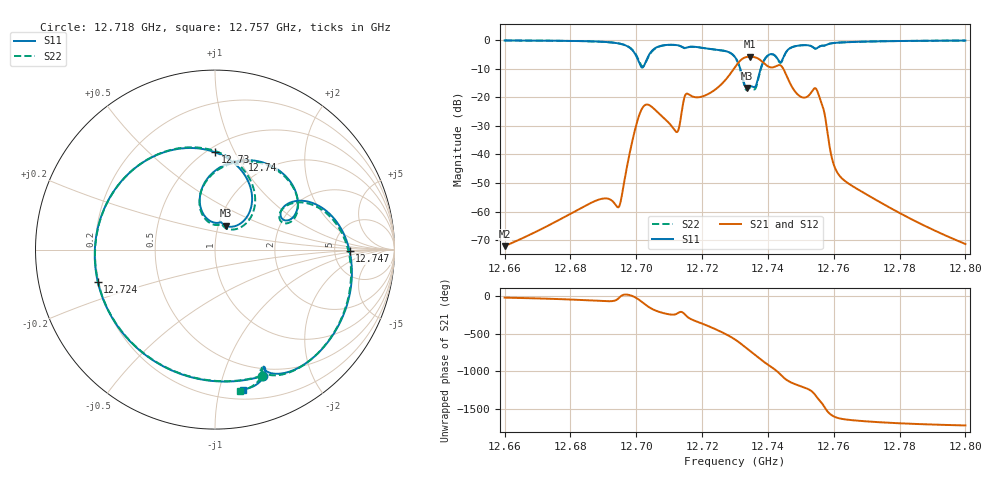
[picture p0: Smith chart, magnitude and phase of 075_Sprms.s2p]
! TOUCHSTONE file generated by CST MICROWAVE STUDIO
! Date and time: Wed Jul 31 14:29:50 2024
! Project name: WaveGuide_BPF-Ver4.1_U-shape_Ku_T3_C4_CWA_2.cst
! Parameters = {cavity_h=16; cavity_l0=10; cavity_l1=15.187; cavity_l2=16.8561; cavity_l3=17.138; cavity_l4=17.2451; cavity_l5=17.0907; cavity_l6=17.5982; cavity_r=2.5; cavity_screw_l=0.5; cavity_screw_r=1.5; cavity_w=8; iris_h00=0; iris_h01=8.8235; iris_h112=0; iris_h12=5.5917; iris_h211=3.6549; ir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
! Header version: 2018
! Port assignment regex: !\s*Touchstone port\s*([0-9]+)\s*=\s*(CST MWS port|CST DS port)\s*([0-9]+|Zmin|Zmax)\s*\(\"(.*)\"\)(\s*mode\s*([0-9]+))?.*
! Touchstone port assignment:
! Touchstone port 1 = CST MWS port 1 ("")
! Touchstone port 2 = CST MWS port 2 ("")
# GHz S RI R 50
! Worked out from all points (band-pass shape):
!   5001 points, 12.66 GHz to 12.8 GHz, reference 50 ohm
!   highest |S21| = -5.84 dB at 12.735 GHz (marker M1); lowest = -72.0 dB at 12.66 GHz (marker M2)
!   |S21| within 3 dB of the highest: 12.73041 GHz to 12.73955 GHz (9.141 MHz wide, 0.0718 % of centre); 12.743 GHz to 12.74378 GHz (781.8 kHz wide, 0.00613 % of centre)
!   lowest |S11| = -16.8 dB at 12.734 GHz (marker M3), VSWR 1.34, Z = 54.2 + j14.7 ohm
!   |S11| at or under -10 dB: 12.73159 GHz to 12.73781 GHz (6.218 MHz wide, 0.0488 % of centre)
!   |S22| runs from -17.5 to -0.2 dB; largest |S21 - S12| = 1e-09
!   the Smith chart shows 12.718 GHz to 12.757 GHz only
!   S11 on the Smith chart (normalised r, x): 12.718 GHz: 0.42, -1.37; 12.724 GHz: 0.20, -0.13; 12.73 GHz: 0.55, +0.84; 12.74 GHz: 0.76, +1.03; 12.747 GHz: 6.99, -0.30; 12.757 GHz: 0.28, -1.18
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12.66  0.2887 0.9386  0.000233 -9.11e-05  0.000233 -9.11e-05  0.2964 0.9361
12.68335  0.7027 0.6497  0.000711 -0.000935  0.000711 -0.000935  0.7106 0.6407
12.69469  0.8697 0.0335  0.00108 -0.000558  0.00108 -0.000558  0.8708 0.0195
12.69973  0.245 -0.504  0.0271 -0.00937  0.0271 -0.00937  0.2596 -0.5174
12.70262  -0.3346 0.1852  -0.0241 -0.0686  -0.0241 -0.0686  -0.3539 0.1297
12.70668  0.48 0.5966  -0.0481 0.0234  -0.0481 0.0234  0.4492 0.6075
12.71188  0.8191 -0.0341  -0.0115 0.0229  -0.0115 0.0229  0.8155 -0.0282
12.71844  0.269 -0.7034  0.0937 0.0339  0.0937 0.0339  0.2605 -0.7035
12.7242  -0.653 -0.1801  0.0167 -0.1381  0.0167 -0.1381  -0.6564 -0.1566
12.72952  0.00183 0.5419  -0.2811 0.1218  -0.2811 0.1218  0.034 0.5366
12.73  0.0891 0.4956  -0.2685 0.2004  -0.2685 0.2004  0.1192 0.4841
12.73358  0.0586 0.1326  0.458 0.2135  0.458 0.2135  0.059 0.1203
12.73454  0.0358 0.1511  0.506 -0.0663  0.506 -0.0663  0.0386 0.1416
12.73683  -0.0573 0.1866  0.0242 -0.4799  0.0242 -0.4799  -0.0567 0.1733
12.73972  0.1547 0.4981  -0.3552 0.018  -0.3552 0.018  0.1566 0.4911
12.7442  0.3703 0.2196  0.3211 0.127  0.3211 0.127  0.3634 0.208
12.74733  0.7501 -0.00927  0.0431 -0.1449  0.0431 -0.1449  0.7472 -0.0251
12.75335  0.3406 -0.692  -0.1252 0.0139  -0.1252 0.0139  0.3195 -0.7003
12.75694  0.1562 -0.7798  0.058 -0.0171  0.058 -0.0171  0.1387 -0.7852
12.76139  -0.2149 -0.8735  -0.00454 5.03e-05  -0.00454 5.03e-05  -0.2353 -0.8692
12.77668  -0.8737 -0.3841  -0.000565 0.00107  -0.000565 0.00107  -0.8799 -0.3712
12.8  -0.9602 0.1896  3.87e-05 0.00027  3.87e-05 0.00027  -0.9585 0.199
